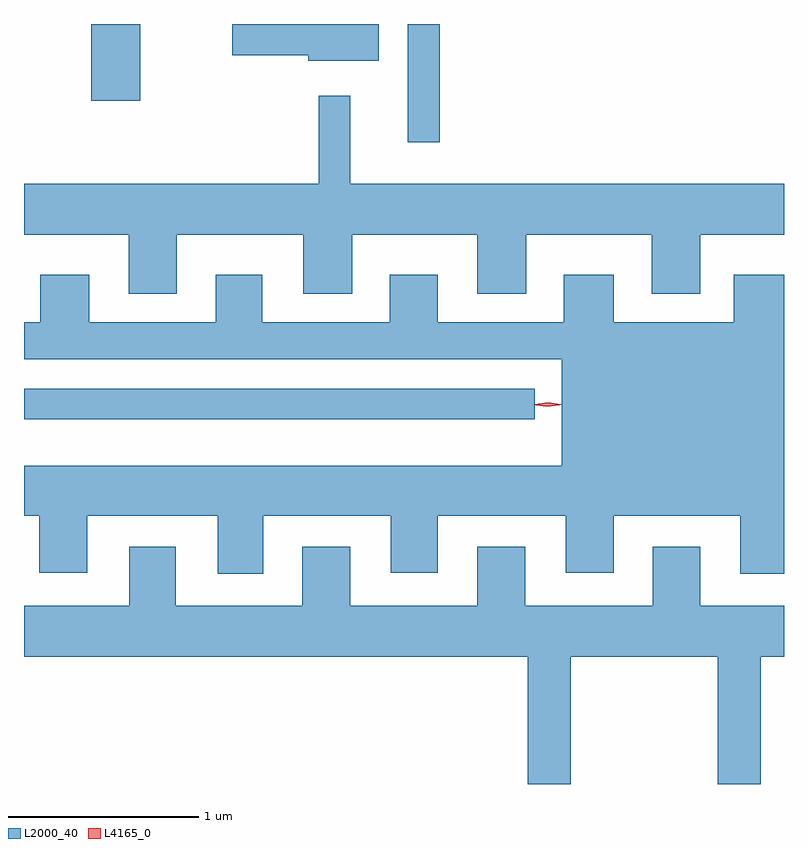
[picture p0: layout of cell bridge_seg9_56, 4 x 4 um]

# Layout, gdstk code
import gdstk
lib = gdstk.Library(unit=1e-6, precision=1e-09)
def R(c, l, rs):  # rectangles x0, y0, x1, y1
    for r in rs: c.add(gdstk.rectangle(r[:2], r[2:], *l))
def P(c, l, *ps):  # polygons
    for p in ps: c.add(gdstk.Polygon(p, *l))
L2000_40 = (2000, 40)
L4165_0 = (4165, 0)

bridge_seg9_56 = lib.new_cell('bridge_seg9_56')
R(bridge_seg9_56, L2000_40, [(1498.441,1990.846,1501.128,1991.004), (1500.461,1992.303,1500.629,1992.925), (1498.796,1992.521,1499.054,1992.925)])
P(bridge_seg9_56, L2000_40, [(1500.309,1992.925),(1499.536,1992.925),(1499.536,1992.761),(1499.936,1992.761),(1499.936,1992.731),(1500.309,1992.731)],
  [(1499.244,1991.816),(1499.911,1991.816),(1499.911,1991.506),(1500.169,1991.506),(1500.169,1991.816),(1500.826,1991.816),(1500.826,1991.506),(1501.084,1991.506),(1501.084,1991.816),(1501.746,1991.816),(1501.746,1991.506),(1501.999,1991.506),(1501.999,1991.816),(1502.441,1991.816),(1502.441,1992.084),(1500.159,1992.084),(1500.159,1992.548),(1499.991,1992.548),(1499.991,1992.084),(1498.441,1992.084),(1498.441,1991.816),(1498.991,1991.816),(1498.991,1991.506),(1499.244,1991.506)],
  [(1499.699,1990.336),(1500.371,1990.336),(1500.371,1990.036),(1500.619,1990.036),(1500.619,1990.336),(1501.291,1990.336),(1501.291,1990.036),(1501.544,1990.036),(1501.544,1990.336),(1502.211,1990.336),(1502.211,1990.031),(1502.441,1990.031),(1502.441,1991.604),(1502.176,1991.604),(1502.176,1991.354),(1501.544,1991.354),(1501.544,1991.604),(1501.281,1991.604),(1501.281,1991.354),(1500.619,1991.354),(1500.619,1991.604),(1500.366,1991.604),(1500.366,1991.354),(1499.694,1991.354),(1499.694,1991.604),(1499.451,1991.604),(1499.451,1991.354),(1498.784,1991.354),(1498.784,1991.604),(1498.526,1991.604),(1498.526,1991.354),(1498.441,1991.354),(1498.441,1991.161),(1501.271,1991.161),(1501.271,1990.599),(1498.441,1990.599),(1498.441,1990.336),(1498.521,1990.336),(1498.521,1990.036),(1498.774,1990.036),(1498.774,1990.336),(1499.461,1990.336),(1499.461,1990.031),(1499.699,1990.031)],
  [(1501.319,1989.596),(1502.091,1989.596),(1502.091,1988.925),(1502.319,1988.925),(1502.319,1989.596),(1502.441,1989.596),(1502.441,1989.864),(1501.999,1989.864),(1501.999,1990.174),(1501.751,1990.174),(1501.751,1989.864),(1501.079,1989.864),(1501.079,1990.174),(1500.826,1990.174),(1500.826,1989.864),(1500.159,1989.864),(1500.159,1990.174),(1499.906,1990.174),(1499.906,1989.864),(1499.239,1989.864),(1499.239,1990.174),(1498.996,1990.174),(1498.996,1989.864),(1498.441,1989.864),(1498.441,1989.596),(1501.091,1989.596),(1501.091,1988.925),(1501.319,1988.925)])
P(bridge_seg9_56, L4165_0, [(1501.199,1990.913),(1501.13,1990.922),(1501.129,1990.923),(1501.13,1990.923),(1501.199,1990.933),(1501.267,1990.923),(1501.268,1990.923),(1501.267,1990.922)],
  [(1501.195,1990.91),(1501.134,1990.919),(1501.133,1990.92),(1501.134,1990.92),(1501.195,1990.93),(1501.257,1990.92),(1501.258,1990.92),(1501.257,1990.919)])

lib.write_gds('bridge_seg9_56.gds')
